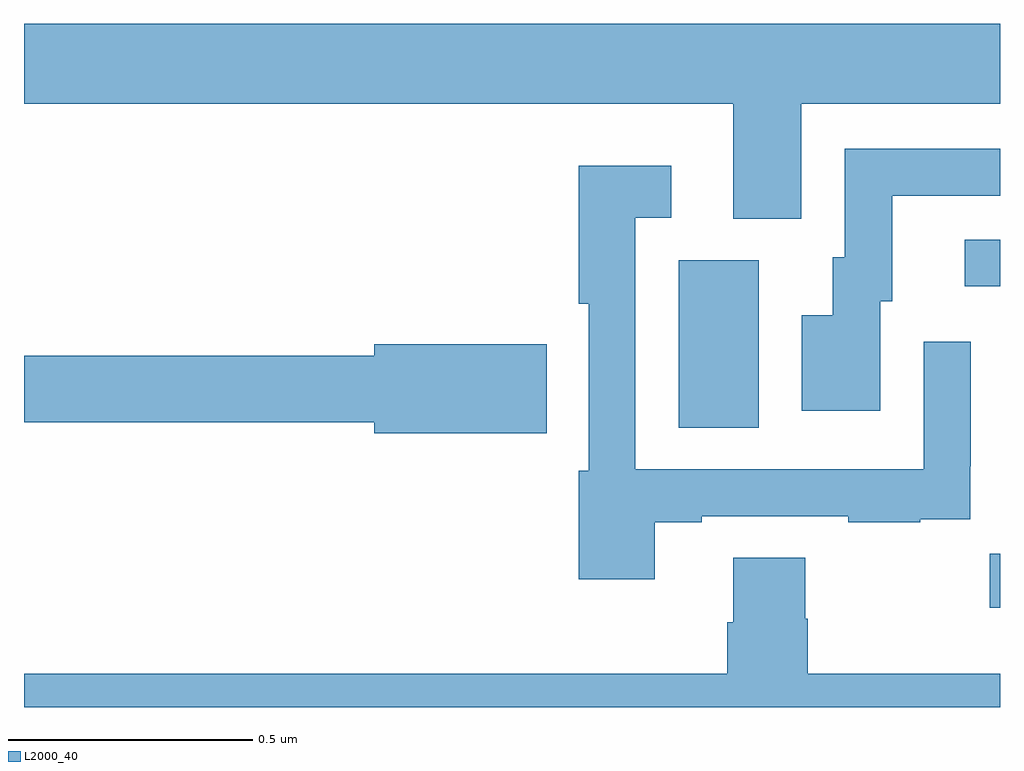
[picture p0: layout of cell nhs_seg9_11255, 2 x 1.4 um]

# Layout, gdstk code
import gdstk
lib = gdstk.Library(unit=1e-6, precision=1e-09)
def R(c, l, rs):  # rectangles x0, y0, x1, y1
    for r in rs: c.add(gdstk.rectangle(r[:2], r[2:], *l))
def P(c, l, *ps):  # polygons
    for p in ps: c.add(gdstk.Polygon(p, *l))
L2000_40 = (2000, 40)

nhs_seg9_11255 = lib.new_cell('nhs_seg9_11255')
R(nhs_seg9_11255, L2000_40, [(254.979,1212.704,255,1212.814), (254.342,1213.072,254.506,1213.416), (254.928,1213.362,255,1213.458)])
P(nhs_seg9_11255, L2000_40, [(254.593,1213.736),(255,1213.736),(255,1213.9),(253,1213.9),(253,1213.736),(254.453,1213.736),(254.453,1213.501),(254.593,1213.501)],
  [(254.755,1213.332),(254.779,1213.332),(254.779,1213.548),(255,1213.548),(255,1213.644),(254.682,1213.644),(254.682,1213.422),(254.657,1213.422),(254.657,1213.303),(254.594,1213.303),(254.594,1213.107),(254.755,1213.107)],
  [(254.293,1212.879),(254.389,1212.879),(254.389,1212.891),(254.689,1212.891),(254.689,1212.879),(254.837,1212.879),(254.837,1212.885),(254.939,1212.885),(254.939,1212.994),(254.94,1212.994),(254.94,1213.249),(254.844,1213.249),(254.844,1212.987),(254.253,1212.987),(254.253,1213.503),(254.326,1213.503),(254.326,1213.609),(254.137,1213.609),(254.137,1213.327),(254.157,1213.327),(254.157,1212.984),(254.137,1212.984),(254.137,1212.762),(254.293,1212.762)],
  [(254.071,1213.244),(253.718,1213.244),(253.718,1213.22),(253,1213.22),(253,1213.084),(253.718,1213.084),(253.718,1213.061),(254.071,1213.061)],
  [(255,1212.568),(254.606,1212.568),(254.606,1212.681),(254.601,1212.681),(254.601,1212.806),(254.453,1212.806),(254.453,1212.674),(254.441,1212.674),(254.441,1212.568),(253,1212.568),(253,1212.5),(255,1212.5)])

lib.write_gds('nhs_seg9_11255.gds')
